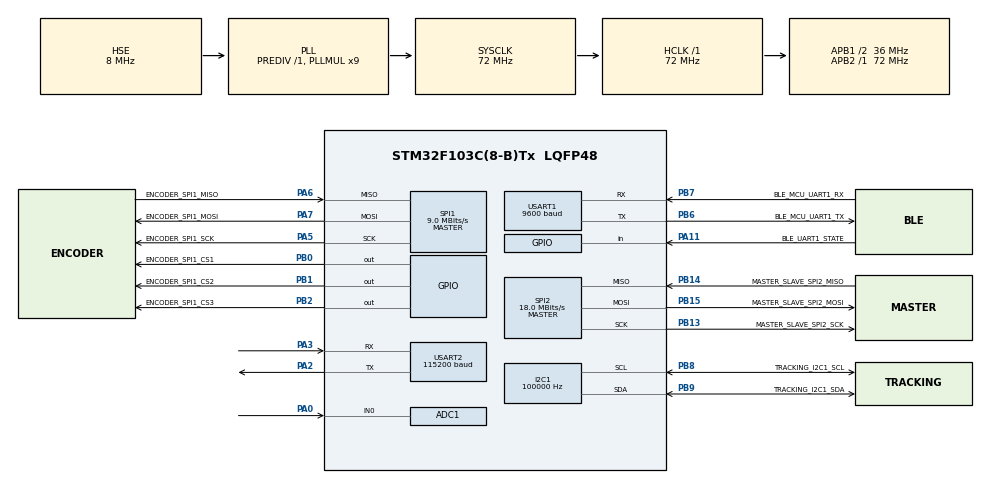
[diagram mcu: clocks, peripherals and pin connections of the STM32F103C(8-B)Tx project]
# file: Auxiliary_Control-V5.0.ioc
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ADC1.Channel-0\#ChannelRegularConversion=ADC_CHANNEL_0
ADC1.ContinuousConvMode=ENABLE
ADC1.NbrOfConversion=1
ADC1.NbrOfConversionFlag=1
ADC1.Rank-0\#ChannelRegularConversion=1
ADC1.SamplingTime-0\#ChannelRegularConversion=ADC_SAMPLETIME_239CYCLES_5
ADC1.master=1
Dma.Request0=USART1_RX
Dma.Request1=USART2_RX
Dma.USART1_RX.0.Direction=DMA_PERIPH_TO_MEMORY
Dma.USART1_RX.0.Instance=DMA1_Channel5
Dma.USART1_RX.0.MemDataAlignment=DMA_MDATAALIGN_BYTE
Dma.USART1_RX.0.MemInc=DMA_MINC_ENABLE
Dma.USART1_RX.0.Mode=DMA_NORMAL
Dma.USART1_RX.0.PeriphDataAlignment=DMA_PDATAALIGN_BYTE
Dma.USART1_RX.0.PeriphInc=DMA_PINC_DISABLE
Dma.USART1_RX.0.Priority=DMA_PRIORITY_MEDIUM
Dma.USART2_RX.1.Direction=DMA_PERIPH_TO_MEMORY
Dma.USART2_RX.1.Instance=DMA1_Channel6
Dma.USART2_RX.1.MemDataAlignment=DMA_MDATAALIGN_BYTE
Dma.USART2_RX.1.MemInc=DMA_MINC_ENABLE
Dma.USART2_RX.1.Mode=DMA_CIRCULAR
Dma.USART2_RX.1.PeriphDataAlignment=DMA_PDATAALIGN_BYTE
Dma.USART2_RX.1.PeriphInc=DMA_PINC_DISABLE
Dma.USART2_RX.1.Priority=DMA_PRIORITY_LOW
I2C1.ClockSpeed=100000
I2C1.DualAddressMode=I2C_DUALADDRESS_DISABLE
I2C1.GeneralCallMode=I2C_GENERALCALL_DISABLE
I2C1.I2C_Mode=I2C_Standard
I2C1.OwnAddress=66
Mcu.Family=STM32F1
Mcu.Name=STM32F103C(8-B)Tx
Mcu.Package=LQFP48
NVIC.DMA1_Channel5_IRQn=true\:2\:0\:true\:false\:true\:false\:true\:true
NVIC.DMA1_Channel6_IRQn=true\:3\:0\:true\:false\:true\:false\:true\:true
NVIC.PriorityGroup=NVIC_PRIORITYGROUP_4
NVIC.TIM3_IRQn=true\:4\:0\:true\:false\:true\:true\:true\:true
NVIC.USART1_IRQn=true\:2\:0\:true\:false\:true\:true\:true\:true
PA0-WKUP.Signal=ADCx_IN0
PA11.GPIO_Label=BLE_UART1_STATE
PA11.Signal=GPIO_Input
PA13.Mode=Serial_Wire
PA13.Signal=SYS_JTMS-SWDIO
PA14.Mode=Serial_Wire
PA14.Signal=SYS_JTCK-SWCLK
PA2.Mode=Asynchronous
PA2.Signal=USART2_TX
PA3.Mode=Asynchronous
PA3.Signal=USART2_RX
PA5.GPIO_Label=ENCODER_SPI1_SCK
PA5.Mode=Full_Duplex_Master
PA5.Signal=SPI1_SCK
PA6.GPIO_Label=ENCODER_SPI1_MISO
PA6.GPIO_PuPd=GPIO_PULLUP
PA6.Mode=Full_Duplex_Master
PA6.Signal=SPI1_MISO
PA7.GPIO_Label=ENCODER_SPI1_MOSI
PA7.Mode=Full_Duplex_Master
PA7.Signal=SPI1_MOSI
PB0.GPIO_Label=ENCODER_SPI1_CS1
PB0.GPIO_ModeDefaultOutputPP=GPIO_MODE_OUTPUT_PP
PB0.GPIO_PuPd=GPIO_PULLDOWN
PB0.GPIO_Speed=GPIO_SPEED_FREQ_HIGH
PB0.PinState=GPIO_PIN_SET
PB0.Signal=GPIO_Output
PB1.GPIO_Label=ENCODER_SPI1_CS2
PB1.GPIO_ModeDefaultOutputPP=GPIO_MODE_OUTPUT_PP
PB1.GPIO_PuPd=GPIO_PULLDOWN
PB1.GPIO_Speed=GPIO_SPEED_FREQ_HIGH
PB1.PinState=GPIO_PIN_SET
PB1.Signal=GPIO_Output
PB13.GPIO_Label=MASTER_SLAVE_SPI2_SCK
PB13.Mode=Full_Duplex_Master
PB13.Signal=SPI2_SCK
PB14.GPIO_Label=MASTER_SLAVE_SPI2_MISO
PB14.Mode=Full_Duplex_Master
PB14.Signal=SPI2_MISO
PB15.GPIO_Label=MASTER_SLAVE_SPI2_MOSI
PB15.Mode=Full_Duplex_Master
PB15.Signal=SPI2_MOSI
PB2.GPIO_Label=ENCODER_SPI1_CS3
PB2.GPIO_ModeDefaultOutputPP=GPIO_MODE_OUTPUT_PP
PB2.GPIO_PuPd=GPIO_PULLDOWN
PB2.GPIO_Speed=GPIO_SPEED_FREQ_HIGH
PB2.PinState=GPIO_PIN_SET
PB2.Signal=GPIO_Output
PB6.GPIO_Label=BLE_MCU_UART1_TX
PB6.Mode=Asynchronous
PB6.Signal=USART1_TX
PB7.GPIO_Label=BLE_MCU_UART1_RX
PB7.GPIO_PuPd=GPIO_PULLUP
PB7.Mode=Asynchronous
PB7.Signal=USART1_RX
PB8.GPIO_Label=TRACKING_I2C1_SCL
PB8.Mode=I2C
PB8.Signal=I2C1_SCL
PB9.GPIO_Label=TRACKING_I2C1_SDA
PB9.Mode=I2C
PB9.Signal=I2C1_SDA
PD0-OSC_IN.Mode=HSE-External-Oscillator
PD0-OSC_IN.Signal=RCC_OSC_IN
PD1-OSC_OUT.Mode=HSE-External-Oscillator
PD1-OSC_OUT.Signal=RCC_OSC_OUT
ProjectManager.HeapSize=0x2000
ProjectManager.StackSize=0x4000
ProjectManager.TargetToolchain=STM32CubeIDE
RCC.ADCPresc=RCC_ADCPCLK2_DIV6
RCC.AHBFreq_Value=72000000
RCC.APB1CLKDivider=RCC_HCLK_DIV2
RCC.APB1Freq_Value=36000000
RCC.APB1TimFreq_Value=72000000
RCC.APB2Freq_Value=72000000
RCC.APB2TimFreq_Value=72000000
RCC.HCLKFreq_Value=72000000
RCC.PLLMUL=RCC_PLL_MUL9
RCC.PLLSourceVirtual=RCC_PLLSOURCE_HSE
RCC.SYSCLKFreq_VALUE=72000000
RCC.SYSCLKSource=RCC_SYSCLKSOURCE_PLLCLK
RCC.USBFreq_Value=72000000
SH.ADCx_IN0.0=ADC2_IN0
SH.ADCx_IN0.1=ADC1_IN0,IN0
SPI1.BaudRatePrescaler=SPI_BAUDRATEPRESCALER_8
SPI1.CLKPhase=SPI_PHASE_2EDGE
SPI1.CLKPolarity=SPI_POLARITY_HIGH
SPI1.CalculateBaudRate=9.0 MBits/s
SPI1.DataSize=SPI_DATASIZE_8BIT
SPI1.Direction=SPI_DIRECTION_2LINES
SPI1.Mode=SPI_MODE_MASTER
SPI1.VirtualType=VM_MASTER
SPI2.BaudRatePrescaler=SPI_BAUDRATEPRESCALER_2
SPI2.CLKPhase=SPI_PHASE_1EDGE
SPI2.CLKPolarity=SPI_POLARITY_LOW
SPI2.CRCCalculation=SPI_CRCCALCULATION_DISABLE
SPI2.CalculateBaudRate=18.0 MBits/s
SPI2.DataSize=SPI_DATASIZE_16BIT
SPI2.Direction=SPI_DIRECTION_2LINES
SPI2.Mode=SPI_MODE_MASTER
SPI2.VirtualType=VM_MASTER
TIM3.Period=3000-1
TIM3.Prescaler=7200-1
USART1.BaudRate=9600
USART1.VirtualMode=VM_ASYNC
USART2.BaudRate=115200
USART2.VirtualMode=VM_ASYNC
VP_CRC_VS_CRC.Mode=CRC_Activate
VP_TIM3_VS_ClockSourceINT.Mode=Internal
board=custom

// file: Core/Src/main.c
/* USER CODE BEGIN Header */
/**
  ******************************************************************************
  * @file           : main.c
  * @brief          : Main program body
  ******************************************************************************
  * @attention
  *
  * Copyright (c) 2023 STMicroelectronics.
  * All rights reserved.
  *
  * This software is licensed under terms that can be found in the LICENSE file
  * in the root directory of this software component.
  * If no LICENSE file comes with this software, it is provided AS-IS.
  *
  ******************************************************************************
  */
/* USER CODE END Header */
#include "main.h"
#include "adc.h"
#include "crc.h"
#include "dma.h"
#include "i2c.h"
#include "spi.h"
#include "tim.h"
#include "usart.h"
#include "gpio.h"

/* USER CODE BEGIN Includes */
#include "Battery.h"
#include "Tracking.h"
#include "Encoder.h"
#include "Master_Slave_Communication.h"
/* USER CODE END Includes */

void SystemClock_Config(void);

/* USER CODE BEGIN 0 */
void HAL_TIM_PeriodElapsedCallback(TIM_HandleTypeDef *htim)
{
	if(htim == &htim3)
	{
		BLE_Receive_Clear();
	}
}

void HAL_SPI_RxCpltCallback(SPI_HandleTypeDef *hspi)
{
	if(hspi == &hspi2)
	{
		Master_Slave_Communication_Receive();
	}
}

/* USER CODE END 0 */

int main(void)
{

  /* MCU Configuration--------------------------------------------------------*/

  /* Reset of all peripherals, Initializes the Flash interface and the Systick. */
  HAL_Init();

  /* Configure the system clock */
  SystemClock_Config();

  /* Initialize all configured peripherals */
  MX_GPIO_Init();
  MX_DMA_Init();
  MX_USART1_UART_Init();
  MX_SPI1_Init();
  MX_I2C1_Init();
  MX_SPI2_Init();
  MX_ADC1_Init();
  MX_CRC_Init();
  MX_TIM3_Init();
  MX_USART2_UART_Init();
  /* USER CODE BEGIN 2 */
  ///////////////////////////////循迹模块初始化/////////////////////////////
  HAL_Delay(1000);   //I2C从机先上电主机后上电
  ///////////////////////////////IMU初始化/////////////////////////////
  IMU_Init();
  HAL_UART_Receive_DMA(&huart2,IMU_Receive_Data,Imu_Uart_Buffer);
  ///////////////////////////////电池检测初始化/////////////////////////////
  Battery_Detection_Init();
  ///////////////////////////////蓝牙初始化/////////////////////////////
  BLE_Init();
  ///////////////////////////////通讯初始化/////////////////////////////
  Master_Slave_Communication_Init();
  /* USER CODE END 2 */

  /* Infinite loop */
  /* USER CODE BEGIN WHILE */
  while (1)
  {
	  BLE_Detection();
	  Battery_Detection();
	  Tracking_Detection();
	  Encoder_Detection();
	  Master_Slave_Communication();
    /* USER CODE END WHILE */

  }
}

void SystemClock_Config(void)
{
  RCC_OscInitTypeDef RCC_OscInitStruct = {0};
  RCC_ClkInitTypeDef RCC_ClkInitStruct = {0};
  RCC_PeriphCLKInitTypeDef PeriphClkInit = {0};

  /** Initializes the RCC Oscillators according to the specified parameters
  * in the RCC_OscInitTypeDef structure.
  */
  RCC_OscInitStruct.OscillatorType = RCC_OSCILLATORTYPE_HSE;
  RCC_OscInitStruct.HSEState = RCC_HSE_ON;
  RCC_OscInitStruct.HSEPredivValue = RCC_HSE_PREDIV_DIV1;
  RCC_OscInitStruct.HSIState = RCC_HSI_ON;
  RCC_OscInitStruct.PLL.PLLState = RCC_PLL_ON;
  RCC_OscInitStruct.PLL.PLLSource = RCC_PLLSOURCE_HSE;
  RCC_OscInitStruct.PLL.PLLMUL = RCC_PLL_MUL9;
  if (HAL_RCC_OscConfig(&RCC_OscInitStruct) != HAL_OK)
  {
    Error_Handler();
  }

  /** Initializes the CPU, AHB and APB buses clocks
  */
  RCC_ClkInitStruct.ClockType = RCC_CLOCKTYPE_HCLK|RCC_CLOCKTYPE_SYSCLK
                              |RCC_CLOCKTYPE_PCLK1|RCC_CLOCKTYPE_PCLK2;
  RCC_ClkInitStruct.SYSCLKSource = RCC_SYSCLKSOURCE_PLLCLK;
  RCC_ClkInitStruct.AHBCLKDivider = RCC_SYSCLK_DIV1;
  RCC_ClkInitStruct.APB1CLKDivider = RCC_HCLK_DIV2;
  RCC_ClkInitStruct.APB2CLKDivider = RCC_HCLK_DIV1;

  if (HAL_RCC_ClockConfig(&RCC_ClkInitStruct, FLASH_LATENCY_2) != HAL_OK)
  {
    Error_Handler();
  }
  PeriphClkInit.PeriphClockSelection = RCC_PERIPHCLK_ADC;
  PeriphClkInit.AdcClockSelection = RCC_ADCPCLK2_DIV6;
  if (HAL_RCCEx_PeriphCLKConfig(&PeriphClkInit) != HAL_OK)
  {
    Error_Handler();
  }
}

void Error_Handler(void)
{
  __disable_irq();
  while (1)
  {
  }
}
